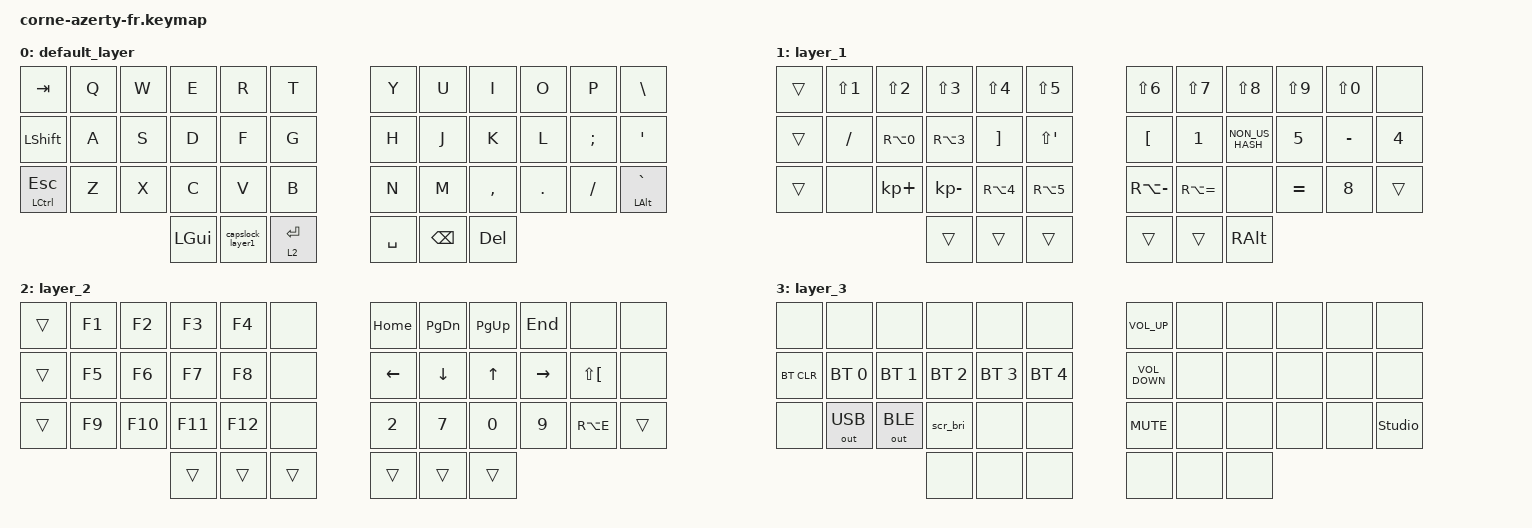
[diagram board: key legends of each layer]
// AZERTY (French) layout for the corne, generated from the stock keymap.
// Layer 0 keys stay where they are (the computer's keyboard language decides what they type);
// the other layers type the same characters as the stock keymap. Extra keys:
//   layer 2, key 30: é
//   layer 2, key 31: è
//   layer 2, key 32: à
//   layer 2, key 33: ç
//   layer 2, key 34: €
//   layer 2, key 22: ¨
/*
 * Copyright (c) 2020 The ZMK Contributors
 *
 * SPDX-License-Identifier: MIT
 */

#include <behaviors.dtsi>
#include <dt-bindings/zmk/bt.h>
#include <dt-bindings/zmk/keys.h>
#include <dt-bindings/zmk/outputs.h>

// Wake-up key: top outer corner (Tab / \), row pin 4, column pin 21 on both halves.
#define TKL_WAKE_ROW 4
#define TKL_WAKE_COL 21
// Switch-off: Tab + Ctrl/Esc held together.
#define TKL_OFF_KEYS 0 24
#include "tkl_power.dtsi"
#include "tkl_brightness.dtsi"

/ {
    behaviors {
        backspace_delete: backspace_delete {
            compatible = "zmk,behavior-mod-morph";
            label = "BACKSPACE_DELETE";
            bindings = <&kp BACKSPACE>, <&kp DELETE>;

            #binding-cells = <0>;
            mods = <(MOD_LSFT)>;
        };

        capslock_layer1: capslock_layer1 {
            compatible = "zmk,behavior-tap-dance";
            label = "CAPSLOCK_LAYER1";
            #binding-cells = <0>;
            bindings = <&mo 1>, <&kp CAPSLOCK>;
        };
    };

    combos {
        compatible = "zmk,combos";

        mo_layer3 {
            bindings = <&mo 3>;
            key-positions = <37 38>;
        };

        layer-3-right {
            bindings = <&mo 3>;
            key-positions = <39 40>;
        };
    };

    keymap {
        compatible = "zmk,keymap";

        default_layer {

            bindings = <
&kp TAB           &kp Q  &kp W  &kp E     &kp R             &kp T          &kp Y      &kp U          &kp I       &kp O    &kp P          &kp BACKSLASH
&kp LEFT_SHIFT    &kp A  &kp S  &kp D     &kp F             &kp G          &kp H      &kp J          &kp K       &kp L    &kp SEMICOLON  &kp SINGLE_QUOTE
&mt LCTRL ESCAPE  &kp Z  &kp X  &kp C     &kp V             &kp B          &kp N      &kp M          &kp COMMA   &kp DOT  &kp FSLH       &mt LEFT_ALT GRAVE
                                &kp LGUI  &capslock_layer1  &lt 2 ENTER    &kp SPACE  &kp BACKSPACE  &kp DELETE
            >;
        };

        layer_1 {
            bindings = <
&trans  &kp LS(N1)       &kp LS(N2)    &kp LS(N3)    &kp LS(N4)      &kp LS(N5)              &kp LS(N6)         &kp LS(N7)           &kp LS(N8)         &kp LS(N9)                &kp LS(N0)                 &none
&trans  &kp FSLH         &kp RA(N0)    &kp RA(N3)     &kp RBKT        &kp LS(SQT)         &kp LBKT           &kp N1           &kp NON_US_HASH   &kp N5                &kp MINUS              &kp N4
&trans  &none            &kp KP_PLUS   &kp KP_MINUS  &kp RA(N4)      &kp RA(N5)          &kp RA(MINUS)      &kp RA(EQUAL)    &none          &kp EQUAL             &kp N8                 &trans
                                       &trans        &trans          &trans              &trans             &trans           &kp RIGHT_ALT
            >;
        };

        layer_2 {
            bindings = <
&trans  &kp F1  &kp F2   &kp F3   &kp F4   &none     &kp HOME  &kp PAGE_DOWN  &kp PAGE_UP  &kp END    &none  &none
&trans  &kp F5  &kp F6   &kp F7   &kp F8   &none     &kp LEFT  &kp DOWN       &kp UP       &kp RIGHT  &kp LS(LBKT)  &none
&trans  &kp F9  &kp F10  &kp F11  &kp F12  &none     &kp N2     &kp N7          &kp N0        &kp N9      &kp RA(E)  &trans
                         &trans   &trans   &trans    &trans    &trans         &trans
            >;
        };

        layer_3 {
            bindings = <
&none       &none         &none         &none         &none         &none           &kp C_VOLUME_UP    &none  &none  &none  &none  &none
&bt BT_CLR  &bt BT_SEL 0  &bt BT_SEL 1  &bt BT_SEL 2  &bt BT_SEL 3  &bt BT_SEL 4    &kp C_VOLUME_DOWN  &none  &none  &none  &none  &none
&none       &out OUT_USB  &out OUT_BLE  &scr_bri      &none         &none           &kp C_MUTE         &none  &none  &none  &none  &studio_unlock
                                        &none         &none         &none           &none              &none  &none
            >;
        };

        extra1 {
            status = "reserved";
        };

        extra2 {
            status = "reserved";
        };
    };
};
